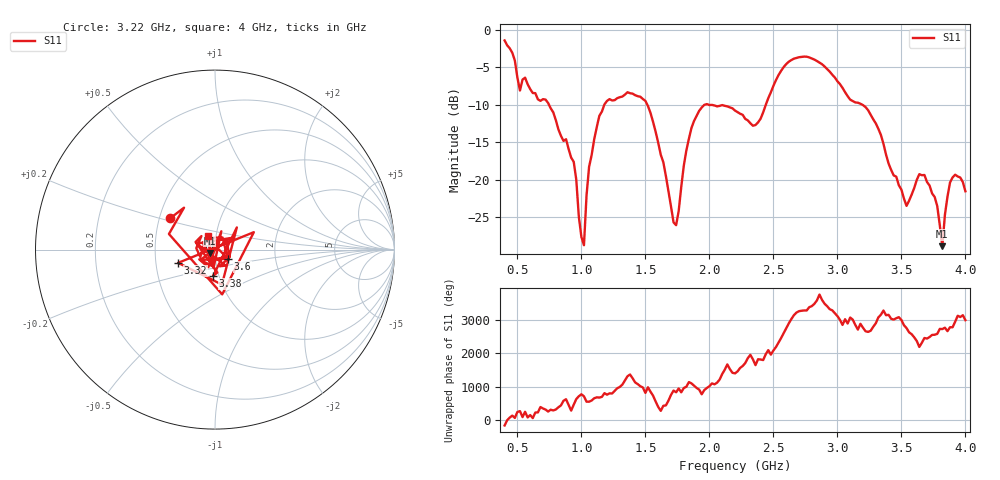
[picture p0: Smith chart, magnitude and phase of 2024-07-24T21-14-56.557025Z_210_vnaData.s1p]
!Created with skrf (http://scikit-rf.org).
# Hz S RI R 50.0
!freq ReS11 ImS11
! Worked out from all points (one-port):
!   181 points, 400 MHz to 4 GHz, reference 50 ohm
!   lowest |S11| = -28.9 dB at 3.82 GHz (marker M1), VSWR 1.07, Z = 47 - j1.8 ohm
!   |S11| at or under -10 dB: 1.515 GHz to 1.965 GHz (450.6 MHz wide, 25.9 % of centre); 1.992 GHz to 2.441 GHz (448.6 MHz wide, 20.2 % of centre); 3.193 GHz to end of sweep (the widest 3 of 4)
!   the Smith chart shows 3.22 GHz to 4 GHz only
!   S11 on the Smith chart (normalised r, x): 3.22 GHz: 0.57, +0.22; 3.32 GHz: 0.65, -0.10; 3.38 GHz: 0.94, -0.28; 3.6 GHz: 1.15, -0.12; 4 GHz: 0.91, +0.14
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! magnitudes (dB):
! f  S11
! 400 MHz  -1.4
! 520 MHz  -8.1
! 720 MHz  -9.3
! 860 MHz  -14.8
! 940 MHz  -17.6
! 1.02 GHz  -28.7
! 1.06 GHz  -18.3
! 1.14 GHz  -11.5
! 1.3 GHz  -9.0
! 1.5 GHz  -9.5
! 1.72 GHz  -25.7
! 1.76 GHz  -24.2
! 1.82 GHz  -16.1
! 1.92 GHz  -10.8
! 2.2 GHz  -10.8
! 2.36 GHz  -12.7
! 2.66 GHz  -3.9
! 3.1 GHz  -9.3
! 3.22 GHz  -10.3
! 3.32 GHz  -13.2
! 3.38 GHz  -16.7
! 3.56 GHz  -22.8
! 3.6 GHz  -21.1
! 3.68 GHz  -19.4
! 3.78 GHz  -23.5
! 3.82 GHz  -28.9
! 3.88 GHz  -20.4
! 4 GHz  -21.5
